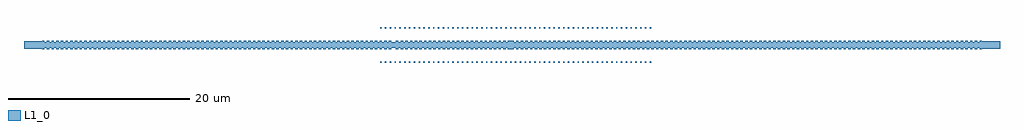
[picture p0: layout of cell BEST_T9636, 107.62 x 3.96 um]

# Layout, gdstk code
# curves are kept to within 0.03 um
import gdstk
lib = gdstk.Library(unit=1e-6, precision=1e-09)
def R(c, l, rs):  # rectangles x0, y0, x1, y1
    for r in rs: c.add(gdstk.rectangle(r[:2], r[2:], *l))
def A(c, l, x, y, w, h, nx, ny, dx, dy):  # array of equal rectangles
    R(c, l, [(x+i*dx, y+j*dy, x+i*dx+w, y+j*dy+h) for i in range(nx) for j in range(ny)])
def P(c, l, *ps):  # polygons
    for p in ps: c.add(gdstk.Polygon(p, *l))
L1_0 = (1, 0)

best_t9636 = lib.new_cell('BEST_T9636')
A(best_t9636, L1_0, -8.666, -0.491, 0.259, 0.982, 4, 1, 0.516, 0)
A(best_t9636, L1_0, 7.117, -0.491, 0.258, 0.982, 5, 1, 0.516, 0)
A(best_t9636, L1_0, -50.779, -0.481, 0.259, 0.962, 3, 1, 0.517, 0)
A(best_t9636, L1_0, -49.228, -0.481, 0.258, 0.962, 3, 1, 0.517, 0)
A(best_t9636, L1_0, -47.678, -0.481, 0.259, 0.962, 3, 1, 0.517, 0)
A(best_t9636, L1_0, -46.127, -0.481, 0.258, 0.962, 3, 1, 0.517, 0)
A(best_t9636, L1_0, -43.543, -0.481, 0.258, 0.962, 4, 1, 0.517, 0)
A(best_t9636, L1_0, -40.442, -0.481, 0.258, 0.962, 4, 1, 0.517, 0)
A(best_t9636, L1_0, -37.341, -0.481, 0.258, 0.962, 4, 1, 0.517, 0)
A(best_t9636, L1_0, -34.24, -0.481, 0.258, 0.962, 4, 1, 0.517, 0)
A(best_t9636, L1_0, -31.139, -0.481, 0.258, 0.962, 3, 1, 0.517, 0)
A(best_t9636, L1_0, -29.589, -0.481, 0.259, 0.962, 3, 1, 0.517, 0)
A(best_t9636, L1_0, -28.038, -0.481, 0.258, 0.962, 3, 1, 0.517, 0)
A(best_t9636, L1_0, -26.488, -0.481, 0.259, 0.962, 3, 1, 0.517, 0)
A(best_t9636, L1_0, -24.937, -0.481, 0.258, 0.962, 3, 1, 0.517, 0)
A(best_t9636, L1_0, -23.387, -0.481, 0.259, 0.962, 3, 1, 0.517, 0)
A(best_t9636, L1_0, -21.836, -0.481, 0.258, 0.962, 3, 1, 0.517, 0)
A(best_t9636, L1_0, -19.252, -0.481, 0.258, 0.962, 4, 1, 0.517, 0)
A(best_t9636, L1_0, -16.151, -0.481, 0.258, 0.962, 4, 1, 0.517, 0)
A(best_t9636, L1_0, 14.342, -0.481, 0.258, 0.962, 4, 1, 0.517, 0)
A(best_t9636, L1_0, 17.443, -0.481, 0.258, 0.962, 4, 1, 0.517, 0)
A(best_t9636, L1_0, 20.544, -0.481, 0.258, 0.962, 3, 1, 0.517, 0)
A(best_t9636, L1_0, 22.094, -0.481, 0.259, 0.962, 3, 1, 0.517, 0)
A(best_t9636, L1_0, 23.645, -0.481, 0.258, 0.962, 3, 1, 0.517, 0)
A(best_t9636, L1_0, 25.195, -0.481, 0.259, 0.962, 3, 1, 0.517, 0)
A(best_t9636, L1_0, 26.746, -0.481, 0.258, 0.962, 3, 1, 0.517, 0)
A(best_t9636, L1_0, 28.296, -0.481, 0.259, 0.962, 3, 1, 0.517, 0)
A(best_t9636, L1_0, 29.847, -0.481, 0.258, 0.962, 3, 1, 0.517, 0)
A(best_t9636, L1_0, 32.431, -0.481, 0.258, 0.962, 4, 1, 0.517, 0)
A(best_t9636, L1_0, 35.532, -0.481, 0.258, 0.962, 4, 1, 0.517, 0)
A(best_t9636, L1_0, 38.633, -0.481, 0.258, 0.962, 4, 1, 0.517, 0)
A(best_t9636, L1_0, 41.734, -0.481, 0.258, 0.962, 4, 1, 0.517, 0)
A(best_t9636, L1_0, 44.835, -0.481, 0.258, 0.962, 3, 1, 0.517, 0)
A(best_t9636, L1_0, 46.385, -0.481, 0.259, 0.962, 3, 1, 0.517, 0)
A(best_t9636, L1_0, 47.936, -0.481, 0.258, 0.962, 3, 1, 0.517, 0)
A(best_t9636, L1_0, 49.486, -0.481, 0.259, 0.962, 3, 1, 0.517, 0)
A(best_t9636, L1_0, -51.037, -0.319, 0.258, 0.638, 4, 1, 0.517, 0)
A(best_t9636, L1_0, -47.936, -0.319, 0.258, 0.638, 4, 1, 0.517, 0)
A(best_t9636, L1_0, -44.835, -0.319, 0.258, 0.638, 3, 1, 0.517, 0)
A(best_t9636, L1_0, -43.285, -0.319, 0.259, 0.638, 3, 1, 0.517, 0)
A(best_t9636, L1_0, -41.734, -0.319, 0.258, 0.638, 3, 1, 0.517, 0)
A(best_t9636, L1_0, -40.184, -0.319, 0.259, 0.638, 3, 1, 0.517, 0)
A(best_t9636, L1_0, -38.633, -0.319, 0.258, 0.638, 3, 1, 0.517, 0)
A(best_t9636, L1_0, -37.083, -0.319, 0.259, 0.638, 3, 1, 0.517, 0)
A(best_t9636, L1_0, -35.532, -0.319, 0.258, 0.638, 3, 1, 0.517, 0)
A(best_t9636, L1_0, -33.982, -0.319, 0.259, 0.638, 3, 1, 0.517, 0)
A(best_t9636, L1_0, -32.431, -0.319, 0.258, 0.638, 3, 1, 0.517, 0)
A(best_t9636, L1_0, -29.847, -0.319, 0.258, 0.638, 4, 1, 0.517, 0)
A(best_t9636, L1_0, -26.746, -0.319, 0.258, 0.638, 4, 1, 0.517, 0)
A(best_t9636, L1_0, -23.645, -0.319, 0.258, 0.638, 4, 1, 0.517, 0)
A(best_t9636, L1_0, -20.544, -0.319, 0.258, 0.638, 3, 1, 0.517, 0)
A(best_t9636, L1_0, -18.994, -0.319, 0.259, 0.638, 3, 1, 0.517, 0)
A(best_t9636, L1_0, -17.443, -0.319, 0.258, 0.638, 3, 1, 0.517, 0)
A(best_t9636, L1_0, -15.893, -0.319, 0.259, 0.638, 3, 1, 0.517, 0)
A(best_t9636, L1_0, -14.342, -0.319, 0.258, 0.638, 3, 1, 0.517, 0)
A(best_t9636, L1_0, 13.05, -0.319, 0.258, 0.638, 3, 1, 0.517, 0)
A(best_t9636, L1_0, 14.6, -0.319, 0.259, 0.638, 3, 1, 0.517, 0)
A(best_t9636, L1_0, 16.151, -0.319, 0.258, 0.638, 3, 1, 0.517, 0)
A(best_t9636, L1_0, 17.701, -0.319, 0.259, 0.638, 3, 1, 0.517, 0)
A(best_t9636, L1_0, 19.252, -0.319, 0.258, 0.638, 3, 1, 0.517, 0)
A(best_t9636, L1_0, 21.836, -0.319, 0.258, 0.638, 4, 1, 0.517, 0)
A(best_t9636, L1_0, 24.937, -0.319, 0.258, 0.638, 4, 1, 0.517, 0)
A(best_t9636, L1_0, 28.038, -0.319, 0.258, 0.638, 4, 1, 0.517, 0)
A(best_t9636, L1_0, 31.139, -0.319, 0.258, 0.638, 3, 1, 0.517, 0)
A(best_t9636, L1_0, 32.689, -0.319, 0.259, 0.638, 3, 1, 0.517, 0)
A(best_t9636, L1_0, 34.24, -0.319, 0.258, 0.638, 3, 1, 0.517, 0)
A(best_t9636, L1_0, 35.79, -0.319, 0.259, 0.638, 3, 1, 0.517, 0)
A(best_t9636, L1_0, 37.341, -0.319, 0.258, 0.638, 3, 1, 0.517, 0)
A(best_t9636, L1_0, 38.891, -0.319, 0.259, 0.638, 3, 1, 0.517, 0)
A(best_t9636, L1_0, 40.442, -0.319, 0.258, 0.638, 3, 1, 0.517, 0)
A(best_t9636, L1_0, 41.992, -0.319, 0.259, 0.638, 3, 1, 0.517, 0)
A(best_t9636, L1_0, 43.543, -0.319, 0.258, 0.638, 3, 1, 0.517, 0)
A(best_t9636, L1_0, 46.127, -0.319, 0.258, 0.638, 4, 1, 0.517, 0)
A(best_t9636, L1_0, 49.228, -0.319, 0.258, 0.638, 4, 1, 0.517, 0)
A(best_t9636, L1_0, -13.05, -0.31, 0.257, 0.62, 3, 1, 0.516, 0)
A(best_t9636, L1_0, -11.503, -0.31, 0.258, 0.62, 4, 1, 0.516, 0)
A(best_t9636, L1_0, 9.439, -0.31, 0.257, 0.62, 5, 1, 0.516, 0)
R(best_t9636, L1_0, [(-12.277,-0.491,-12.018,0.491), (-10.729,-0.491,-10.471,0.491), (-10.213,-0.491,-9.955,0.491), (-9.181,-0.491,-8.923,0.491), (-6.088,-0.491,-5.829,0.491), (-5.574,-0.491,-5.316,0.491), (-5.061,-0.491,-4.803,0.491), (-4.038,-0.491,-3.779,0.491), (4.032,-0.491,4.291,0.491), (5.057,-0.491,5.316,0.491), (5.571,-0.491,5.829,0.491), (6.086,-0.491,6.344,0.491), (10.212,-0.491,10.471,0.491), (10.728,-0.491,10.987,0.491), (12.276,-0.491,12.534,0.491), (-12.793,-0.49,-12.534,0.49), (-11.761,-0.49,-11.503,0.49), (-11.245,-0.49,-10.987,0.49), (-9.697,-0.49,-9.439,0.49), (-6.602,-0.49,-6.344,0.49), (-4.549,-0.49,-4.291,0.49), (-3.527,-0.49,-3.269,0.49), (-3.017,-0.49,-2.758,0.49), (3.01,-0.49,3.269,0.49), (3.521,-0.49,3.779,0.49), (4.544,-0.49,4.803,0.49), (6.601,-0.49,6.859,0.49), (9.696,-0.49,9.955,0.49), (11.244,-0.49,11.503,0.49), (11.76,-0.49,12.018,0.49), (12.792,-0.49,13.05,0.49), (-2.506,-0.489,-2.247,0.489), (-1.994,-0.489,-1.736,0.489), (1.989,-0.489,2.247,0.489), (2.5,-0.489,2.758,0.489), (-1.482,-0.487,-1.223,0.487), (1.477,-0.487,1.736,0.487), (-0.968,-0.483,-0.709,0.483), (0.965,-0.483,1.223,0.483), (-0.454,-0.482,-0.196,0.482), (0.451,-0.482,0.709,0.482), (-51.812,-0.481,-51.554,0.481), (-51.295,-0.481,-51.037,0.481), (-44.577,-0.481,-44.318,0.481), (-44.06,-0.481,-43.801,0.481), (-41.476,-0.481,-41.217,0.481), (-40.959,-0.481,-40.7,0.481), (-38.375,-0.481,-38.116,0.481), (-37.858,-0.481,-37.599,0.481), (-35.274,-0.481,-35.015,0.481), (-34.757,-0.481,-34.498,0.481), (-32.173,-0.481,-31.914,0.481), (-31.656,-0.481,-31.397,0.481), (-20.286,-0.481,-20.027,0.481), (-19.769,-0.481,-19.51,0.481), (-17.185,-0.481,-16.926,0.481), (-16.668,-0.481,-16.409,0.481), (-14.084,-0.481,-13.825,0.481), (-13.567,-0.481,-13.308,0.481), (-0.196,-0.481,0.196,0.481), (13.308,-0.481,13.567,0.481), (13.825,-0.481,14.084,0.481), (16.409,-0.481,16.668,0.481), (16.926,-0.481,17.185,0.481), (19.51,-0.481,19.769,0.481), (20.027,-0.481,20.286,0.481), (31.397,-0.481,31.656,0.481), (31.914,-0.481,32.173,0.481), (34.498,-0.481,34.757,0.481), (35.015,-0.481,35.274,0.481), (37.599,-0.481,37.858,0.481), (38.116,-0.481,38.375,0.481), (40.7,-0.481,40.959,0.481), (41.217,-0.481,41.476,0.481), (43.801,-0.481,44.06,0.481), (44.318,-0.481,44.577,0.481), (51.037,-0.481,51.295,0.481), (51.554,-0.481,51.812,0.481), (-53.812,-0.4,-51.812,0.4), (51.812,-0.4,53.812,0.4), (-0.709,-0.32,-0.454,0.32), (0.196,-0.32,0.451,0.32), (-51.554,-0.319,-51.295,0.319), (-48.97,-0.319,-48.711,0.319), (-48.453,-0.319,-48.194,0.319), (-45.869,-0.319,-45.61,0.319), (-45.352,-0.319,-45.093,0.319), (-30.881,-0.319,-30.622,0.319), (-30.364,-0.319,-30.105,0.319), (-27.78,-0.319,-27.521,0.319), (-27.263,-0.319,-27.004,0.319), (-24.679,-0.319,-24.42,0.319), (-24.162,-0.319,-23.903,0.319), (-21.578,-0.319,-21.319,0.319), (-21.061,-0.319,-20.802,0.319), (20.802,-0.319,21.061,0.319), (21.319,-0.319,21.578,0.319), (23.903,-0.319,24.162,0.319), (24.42,-0.319,24.679,0.319), (27.004,-0.319,27.263,0.319), (27.521,-0.319,27.78,0.319), (30.105,-0.319,30.364,0.319), (30.622,-0.319,30.881,0.319), (45.093,-0.319,45.352,0.319), (45.61,-0.319,45.869,0.319), (48.194,-0.319,48.453,0.319), (48.711,-0.319,48.97,0.319), (51.295,-0.319,51.554,0.319), (-1.223,-0.318,-0.968,0.318), (0.709,-0.318,0.965,0.318), (-1.736,-0.314,-1.482,0.314), (1.223,-0.314,1.477,0.314), (-2.758,-0.312,-2.506,0.312), (-2.247,-0.312,-1.994,0.312), (1.736,-0.312,1.989,0.312), (2.247,-0.312,2.5,0.312), (-3.269,-0.311,-3.017,0.311), (2.758,-0.311,3.01,0.311), (-8.407,-0.31,-8.15,0.31), (-6.859,-0.31,-6.602,0.31), (-4.803,-0.31,-4.549,0.31), (-4.291,-0.31,-4.038,0.31), (-3.779,-0.31,-3.527,0.31), (3.269,-0.31,3.521,0.31), (3.779,-0.31,4.032,0.31), (4.291,-0.31,4.544,0.31), (6.344,-0.31,6.601,0.31), (7.891,-0.31,8.149,0.31), (12.018,-0.31,12.276,0.31), (12.534,-0.31,12.792,0.31), (-9.439,-0.309,-9.181,0.309), (-8.923,-0.309,-8.666,0.309), (-7.891,-0.309,-7.634,0.309), (-7.375,-0.309,-7.118,0.309), (-6.344,-0.309,-6.088,0.309), (-5.829,-0.309,-5.574,0.309), (-5.316,-0.309,-5.061,0.309), (4.803,-0.309,5.057,0.309), (5.316,-0.309,5.571,0.309), (5.829,-0.309,6.086,0.309), (6.859,-0.309,7.117,0.309), (7.375,-0.309,7.633,0.309), (8.407,-0.309,8.665,0.309), (8.923,-0.309,9.181,0.309)])
P(best_t9636, L1_0, [(-14.387,1.897),(-14.41,1.954),(-14.467,1.978),(-14.524,1.954),(-14.547,1.905),(-14.524,1.841),(-14.467,1.817),(-14.416,1.835)],
  [(-14.387,-1.897),(-14.41,-1.841),(-14.467,-1.817),(-14.524,-1.841),(-14.547,-1.905),(-14.524,-1.954),(-14.467,-1.978),(-14.41,-1.954)],
  [(-13.856,1.897),(-13.879,1.954),(-13.928,1.977),(-13.987,1.959),(-14.016,1.905),(-13.993,1.841),(-13.936,1.817),(-13.885,1.835)],
  [(-13.856,-1.897),(-13.879,-1.841),(-13.936,-1.817),(-13.993,-1.841),(-14.016,-1.905),(-13.987,-1.959),(-13.928,-1.977),(-13.879,-1.954)],
  [(-13.325,1.897),(-13.348,1.954),(-13.397,1.977),(-13.456,1.959),(-13.485,1.905),(-13.467,1.847),(-13.436,1.823),(-13.405,1.817),(-13.348,1.841)],
  [(-13.325,-1.897),(-13.348,-1.841),(-13.405,-1.817),(-13.436,-1.823),(-13.467,-1.847),(-13.485,-1.905),(-13.456,-1.959),(-13.397,-1.977),(-13.348,-1.954)],
  [(-12.794,1.897),(-12.817,1.954),(-12.866,1.977),(-12.925,1.959),(-12.954,1.905),(-12.931,1.841),(-12.874,1.817),(-12.817,1.841)],
  [(-12.794,-1.897),(-12.817,-1.841),(-12.874,-1.817),(-12.931,-1.841),(-12.954,-1.905),(-12.925,-1.959),(-12.866,-1.977),(-12.817,-1.954)],
  [(-12.263,1.897),(-12.286,1.954),(-12.335,1.977),(-12.394,1.959),(-12.423,1.905),(-12.405,1.847),(-12.343,1.817),(-12.286,1.841)],
  [(-12.263,-1.897),(-12.286,-1.841),(-12.343,-1.817),(-12.405,-1.847),(-12.423,-1.905),(-12.394,-1.959),(-12.335,-1.977),(-12.286,-1.954)],
  [(-11.732,1.897),(-11.755,1.954),(-11.804,1.977),(-11.863,1.959),(-11.892,1.897),(-11.874,1.847),(-11.812,1.817),(-11.755,1.841)],
  [(-11.732,-1.897),(-11.755,-1.841),(-11.812,-1.817),(-11.863,-1.836),(-11.892,-1.897),(-11.874,-1.948),(-11.82,-1.977),(-11.755,-1.954)],
  [(-11.201,1.897),(-11.224,1.954),(-11.273,1.977),(-11.332,1.959),(-11.361,1.905),(-11.338,1.841),(-11.281,1.817),(-11.224,1.841)],
  [(-11.201,-1.897),(-11.224,-1.841),(-11.281,-1.817),(-11.338,-1.841),(-11.361,-1.905),(-11.332,-1.959),(-11.273,-1.977),(-11.224,-1.954)],
  [(-10.67,1.897),(-10.693,1.954),(-10.742,1.977),(-10.801,1.959),(-10.83,1.905),(-10.807,1.841),(-10.75,1.817),(-10.693,1.841)],
  [(-10.67,-1.897),(-10.693,-1.841),(-10.75,-1.817),(-10.807,-1.841),(-10.83,-1.905),(-10.801,-1.959),(-10.742,-1.977),(-10.693,-1.954)],
  [(-10.139,1.897),(-10.162,1.954),(-10.211,1.977),(-10.27,1.959),(-10.299,1.897),(-10.281,1.847),(-10.219,1.817),(-10.162,1.841)],
  [(-10.139,-1.897),(-10.162,-1.841),(-10.219,-1.817),(-10.27,-1.836),(-10.299,-1.897),(-10.281,-1.948),(-10.227,-1.977),(-10.162,-1.954)],
  [(-9.608,1.897),(-9.631,1.954),(-9.68,1.977),(-9.739,1.959),(-9.768,1.905),(-9.745,1.841),(-9.688,1.817),(-9.631,1.841)],
  [(-9.608,-1.897),(-9.631,-1.841),(-9.688,-1.817),(-9.745,-1.841),(-9.768,-1.905),(-9.739,-1.959),(-9.68,-1.977),(-9.631,-1.954)],
  [(-9.077,1.897),(-9.1,1.954),(-9.149,1.977),(-9.208,1.959),(-9.237,1.905),(-9.214,1.841),(-9.157,1.817),(-9.1,1.841)],
  [(-9.077,-1.897),(-9.1,-1.841),(-9.157,-1.817),(-9.214,-1.841),(-9.237,-1.905),(-9.208,-1.959),(-9.149,-1.977),(-9.1,-1.954)],
  [(-8.546,1.897),(-8.569,1.954),(-8.618,1.977),(-8.677,1.959),(-8.706,1.905),(-8.683,1.841),(-8.626,1.817),(-8.569,1.841)],
  [(-8.546,-1.897),(-8.569,-1.841),(-8.626,-1.817),(-8.683,-1.841),(-8.706,-1.905),(-8.677,-1.959),(-8.618,-1.977),(-8.569,-1.954)],
  [(-8.015,1.897),(-8.038,1.954),(-8.087,1.977),(-8.14,1.964),(-8.175,1.905),(-8.152,1.841),(-8.095,1.817),(-8.044,1.835)],
  [(-8.015,-1.897),(-8.038,-1.841),(-8.095,-1.817),(-8.152,-1.841),(-8.175,-1.905),(-8.14,-1.964),(-8.087,-1.977),(-8.038,-1.954)],
  [(-7.484,1.897),(-7.507,1.954),(-7.564,1.978),(-7.621,1.954),(-7.644,1.905),(-7.626,1.846),(-7.564,1.817),(-7.513,1.835)],
  [(-7.484,-1.897),(-7.502,-1.846),(-7.564,-1.817),(-7.626,-1.846),(-7.644,-1.905),(-7.621,-1.954),(-7.564,-1.978),(-7.507,-1.954)],
  [(-6.953,1.897),(-6.976,1.954),(-7.033,1.978),(-7.09,1.954),(-7.113,1.905),(-7.095,1.846),(-7.033,1.817),(-6.982,1.835)],
  [(-6.953,-1.897),(-6.971,-1.846),(-7.033,-1.817),(-7.095,-1.846),(-7.113,-1.905),(-7.09,-1.954),(-7.033,-1.978),(-6.976,-1.954)],
  [(-6.422,1.897),(-6.445,1.954),(-6.502,1.978),(-6.559,1.954),(-6.582,1.905),(-6.564,1.846),(-6.502,1.817),(-6.451,1.835)],
  [(-6.422,-1.897),(-6.44,-1.846),(-6.502,-1.817),(-6.564,-1.846),(-6.582,-1.905),(-6.559,-1.954),(-6.502,-1.978),(-6.445,-1.954)],
  [(-5.891,1.897),(-5.914,1.954),(-5.971,1.978),(-6.028,1.954),(-6.051,1.905),(-6.033,1.846),(-5.979,1.817),(-5.92,1.835)],
  [(-5.891,-1.897),(-5.909,-1.846),(-5.963,-1.817),(-6.022,-1.835),(-6.051,-1.889),(-6.028,-1.954),(-5.971,-1.978),(-5.914,-1.954)],
  [(-5.36,1.897),(-5.383,1.954),(-5.44,1.978),(-5.497,1.954),(-5.52,1.905),(-5.502,1.846),(-5.448,1.817),(-5.389,1.835)],
  [(-5.36,-1.897),(-5.389,-1.835),(-5.448,-1.817),(-5.502,-1.846),(-5.52,-1.905),(-5.497,-1.954),(-5.44,-1.978),(-5.383,-1.954)],
  [(-4.829,1.897),(-4.852,1.954),(-4.901,1.977),(-4.96,1.959),(-4.989,1.905),(-4.966,1.841),(-4.909,1.817),(-4.858,1.835)],
  [(-4.829,-1.897),(-4.852,-1.841),(-4.909,-1.817),(-4.966,-1.841),(-4.989,-1.905),(-4.96,-1.959),(-4.901,-1.977),(-4.852,-1.954)],
  [(-4.298,1.897),(-4.321,1.954),(-4.37,1.977),(-4.429,1.959),(-4.458,1.897),(-4.44,1.847),(-4.386,1.818),(-4.321,1.841)],
  [(-4.298,-1.897),(-4.321,-1.841),(-4.37,-1.818),(-4.429,-1.836),(-4.458,-1.897),(-4.44,-1.948),(-4.386,-1.977),(-4.321,-1.954)],
  [(-3.767,1.897),(-3.79,1.954),(-3.839,1.977),(-3.891,1.964),(-3.926,1.905),(-3.913,1.853),(-3.855,1.818),(-3.79,1.841)],
  [(-3.767,-1.897),(-3.79,-1.841),(-3.855,-1.818),(-3.913,-1.853),(-3.926,-1.905),(-3.891,-1.964),(-3.839,-1.977),(-3.79,-1.954)],
  [(-3.236,1.897),(-3.254,1.948),(-3.308,1.977),(-3.366,1.959),(-3.395,1.905),(-3.382,1.853),(-3.324,1.818),(-3.265,1.836)],
  [(-3.236,-1.897),(-3.265,-1.836),(-3.324,-1.818),(-3.382,-1.853),(-3.395,-1.905),(-3.366,-1.959),(-3.308,-1.977),(-3.254,-1.948)],
  [(-2.705,1.897),(-2.723,1.948),(-2.777,1.977),(-2.829,1.964),(-2.864,1.905),(-2.851,1.853),(-2.793,1.818),(-2.734,1.836)],
  [(-2.705,-1.897),(-2.734,-1.836),(-2.793,-1.818),(-2.851,-1.853),(-2.864,-1.905),(-2.829,-1.964),(-2.777,-1.977),(-2.723,-1.948)],
  [(-2.174,1.897),(-2.197,1.954),(-2.246,1.977),(-2.305,1.959),(-2.334,1.905),(-2.311,1.841),(-2.254,1.817),(-2.197,1.841)],
  [(-2.174,-1.897),(-2.197,-1.841),(-2.254,-1.817),(-2.311,-1.841),(-2.334,-1.905),(-2.305,-1.959),(-2.246,-1.977),(-2.197,-1.954)],
  [(-1.643,1.897),(-1.661,1.948),(-1.723,1.978),(-1.78,1.954),(-1.804,1.897),(-1.786,1.846),(-1.731,1.817),(-1.672,1.835)],
  [(-1.643,-1.897),(-1.661,-1.846),(-1.716,-1.817),(-1.774,-1.835),(-1.804,-1.897),(-1.786,-1.948),(-1.723,-1.978),(-1.661,-1.948)],
  [(-1.112,1.897),(-1.13,1.948),(-1.193,1.978),(-1.244,1.96),(-1.273,1.905),(-1.255,1.846),(-1.2,1.817),(-1.142,1.835)],
  [(-1.112,-1.897),(-1.13,-1.846),(-1.185,-1.817),(-1.244,-1.835),(-1.273,-1.889),(-1.255,-1.948),(-1.193,-1.978),(-1.142,-1.96)],
  [(-0.581,1.897),(-0.604,1.954),(-0.653,1.977),(-0.712,1.959),(-0.741,1.897),(-0.723,1.847),(-0.661,1.817),(-0.604,1.841)],
  [(-0.581,-1.897),(-0.604,-1.841),(-0.661,-1.817),(-0.712,-1.836),(-0.741,-1.897),(-0.723,-1.948),(-0.669,-1.977),(-0.604,-1.954)],
  [(-0.05,1.897),(-0.073,1.954),(-0.122,1.977),(-0.186,1.954),(-0.21,1.897),(-0.192,1.847),(-0.13,1.817),(-0.073,1.841)],
  [(-0.05,-1.897),(-0.073,-1.841),(-0.13,-1.817),(-0.186,-1.841),(-0.21,-1.897),(-0.192,-1.948),(-0.138,-1.977),(-0.073,-1.954)],
  [(0.48,1.897),(0.457,1.954),(0.408,1.977),(0.356,1.964),(0.321,1.905),(0.334,1.853),(0.393,1.818),(0.457,1.841)],
  [(0.48,-1.897),(0.457,-1.841),(0.393,-1.818),(0.334,-1.853),(0.321,-1.905),(0.356,-1.964),(0.408,-1.977),(0.457,-1.954)],
  [(1.012,1.897),(0.989,1.954),(0.94,1.977),(0.881,1.959),(0.852,1.905),(0.875,1.841),(0.932,1.817),(0.983,1.835)],
  [(1.012,-1.897),(0.989,-1.841),(0.932,-1.817),(0.875,-1.841),(0.852,-1.905),(0.881,-1.959),(0.94,-1.977),(0.989,-1.954)],
  [(1.544,1.897),(1.521,1.954),(1.464,1.978),(1.413,1.96),(1.383,1.897),(1.401,1.846),(1.456,1.817),(1.521,1.84)],
  [(1.544,-1.897),(1.521,-1.84),(1.472,-1.817),(1.407,-1.84),(1.383,-1.897),(1.401,-1.948),(1.464,-1.978),(1.521,-1.954)],
  [(2.074,1.897),(2.051,1.954),(1.994,1.978),(1.943,1.959),(1.914,1.905),(1.932,1.846),(1.994,1.817),(2.045,1.835)],
  [(2.074,-1.897),(2.056,-1.846),(1.994,-1.817),(1.932,-1.846),(1.914,-1.905),(1.943,-1.959),(1.994,-1.978),(2.051,-1.954)],
  [(2.605,1.897),(2.587,1.948),(2.533,1.977),(2.474,1.959),(2.445,1.905),(2.463,1.847),(2.517,1.818),(2.581,1.841)],
  [(2.605,-1.897),(2.581,-1.841),(2.517,-1.818),(2.463,-1.847),(2.445,-1.905),(2.474,-1.959),(2.533,-1.977),(2.587,-1.948)],
  [(3.135,1.897),(3.112,1.954),(3.056,1.977),(3.005,1.959),(2.976,1.897),(2.994,1.847),(3.048,1.818),(3.112,1.841)],
  [(3.135,-1.897),(3.112,-1.841),(3.064,-1.818),(3.005,-1.836),(2.976,-1.897),(2.994,-1.948),(3.056,-1.977),(3.112,-1.954)],
  [(3.666,1.897),(3.643,1.954),(3.595,1.977),(3.536,1.959),(3.507,1.897),(3.525,1.847),(3.579,1.818),(3.643,1.841)],
  [(3.666,-1.897),(3.643,-1.841),(3.595,-1.818),(3.536,-1.836),(3.507,-1.897),(3.525,-1.948),(3.579,-1.977),(3.643,-1.954)],
  [(4.198,1.897),(4.18,1.948),(4.126,1.977),(4.067,1.959),(4.038,1.905),(4.056,1.847),(4.11,1.818),(4.174,1.841)],
  [(4.198,-1.897),(4.174,-1.841),(4.11,-1.818),(4.056,-1.847),(4.038,-1.905),(4.067,-1.959),(4.126,-1.977),(4.18,-1.948)],
  [(4.729,1.897),(4.711,1.948),(4.657,1.977),(4.604,1.964),(4.569,1.905),(4.592,1.841),(4.649,1.817),(4.7,1.836)],
  [(4.729,-1.897),(4.711,-1.847),(4.649,-1.817),(4.592,-1.841),(4.569,-1.905),(4.604,-1.964),(4.657,-1.977),(4.711,-1.948)],
  [(5.26,1.897),(5.237,1.954),(5.18,1.978),(5.123,1.954),(5.1,1.905),(5.123,1.841),(5.18,1.817),(5.231,1.835)],
  [(5.26,-1.897),(5.237,-1.841),(5.18,-1.817),(5.123,-1.841),(5.1,-1.905),(5.123,-1.954),(5.18,-1.978),(5.237,-1.954)],
  [(5.791,1.897),(5.768,1.954),(5.711,1.978),(5.654,1.954),(5.631,1.905),(5.649,1.846),(5.703,1.817),(5.762,1.835)],
  [(5.791,-1.897),(5.773,-1.846),(5.719,-1.817),(5.66,-1.835),(5.631,-1.889),(5.654,-1.954),(5.711,-1.978),(5.768,-1.954)],
  [(6.322,1.897),(6.299,1.954),(6.242,1.978),(6.185,1.954),(6.162,1.905),(6.18,1.846),(6.234,1.817),(6.293,1.835)],
  [(6.322,-1.897),(6.293,-1.835),(6.234,-1.817),(6.18,-1.846),(6.162,-1.905),(6.185,-1.954),(6.242,-1.978),(6.299,-1.954)],
  [(6.853,1.897),(6.83,1.954),(6.773,1.978),(6.716,1.954),(6.693,1.905),(6.711,1.846),(6.773,1.817),(6.824,1.835)],
  [(6.853,-1.897),(6.835,-1.846),(6.773,-1.817),(6.711,-1.846),(6.693,-1.905),(6.716,-1.954),(6.773,-1.978),(6.83,-1.954)],
  [(7.384,1.897),(7.361,1.954),(7.304,1.978),(7.247,1.954),(7.224,1.905),(7.242,1.846),(7.304,1.817),(7.355,1.835)],
  [(7.384,-1.897),(7.366,-1.846),(7.304,-1.817),(7.242,-1.846),(7.224,-1.905),(7.247,-1.954),(7.304,-1.978),(7.361,-1.954)],
  [(7.915,1.897),(7.892,1.954),(7.835,1.978),(7.778,1.954),(7.755,1.905),(7.773,1.846),(7.835,1.817),(7.886,1.835)],
  [(7.915,-1.897),(7.897,-1.846),(7.835,-1.817),(7.773,-1.846),(7.755,-1.905),(7.778,-1.954),(7.835,-1.978),(7.892,-1.954)],
  [(8.446,1.897),(8.423,1.954),(8.374,1.977),(8.315,1.959),(8.286,1.905),(8.309,1.841),(8.366,1.817),(8.423,1.841)],
  [(8.446,-1.897),(8.423,-1.841),(8.366,-1.817),(8.309,-1.841),(8.286,-1.905),(8.315,-1.959),(8.374,-1.977),(8.423,-1.954)],
  [(8.977,1.897),(8.954,1.954),(8.905,1.977),(8.846,1.959),(8.817,1.905),(8.84,1.841),(8.897,1.817),(8.954,1.841)],
  [(8.977,-1.897),(8.954,-1.841),(8.897,-1.817),(8.84,-1.841),(8.817,-1.905),(8.846,-1.959),(8.905,-1.977),(8.954,-1.954)],
  [(9.508,1.897),(9.485,1.954),(9.436,1.977),(9.377,1.959),(9.348,1.905),(9.371,1.841),(9.428,1.817),(9.485,1.841)],
  [(9.508,-1.897),(9.485,-1.841),(9.428,-1.817),(9.371,-1.841),(9.348,-1.905),(9.377,-1.959),(9.436,-1.977),(9.485,-1.954)],
  [(10.039,1.897),(10.021,1.948),(9.967,1.977),(9.908,1.959),(9.879,1.905),(9.897,1.847),(9.959,1.817),(10.01,1.836)],
  [(10.039,-1.897),(10.021,-1.847),(9.959,-1.817),(9.897,-1.847),(9.879,-1.905),(9.908,-1.959),(9.967,-1.977),(10.021,-1.948)],
  [(10.57,1.897),(10.547,1.954),(10.498,1.977),(10.439,1.959),(10.41,1.905),(10.433,1.841),(10.49,1.817),(10.547,1.841)],
  [(10.57,-1.897),(10.547,-1.841),(10.49,-1.817),(10.433,-1.841),(10.41,-1.905),(10.439,-1.959),(10.498,-1.977),(10.547,-1.954)],
  [(11.101,1.897),(11.078,1.954),(11.029,1.977),(10.97,1.959),(10.941,1.905),(10.964,1.841),(11.021,1.817),(11.078,1.841)],
  [(11.101,-1.897),(11.078,-1.841),(11.021,-1.817),(10.964,-1.841),(10.941,-1.905),(10.97,-1.959),(11.029,-1.977),(11.078,-1.954)],
  [(11.632,1.897),(11.609,1.954),(11.56,1.977),(11.501,1.959),(11.472,1.905),(11.495,1.841),(11.552,1.817),(11.609,1.841)],
  [(11.632,-1.897),(11.609,-1.841),(11.552,-1.817),(11.495,-1.841),(11.472,-1.905),(11.501,-1.959),(11.56,-1.977),(11.609,-1.954)],
  [(12.163,1.897),(12.14,1.954),(12.091,1.977),(12.032,1.959),(12.003,1.905),(12.026,1.841),(12.083,1.817),(12.14,1.841)],
  [(12.163,-1.897),(12.14,-1.841),(12.083,-1.817),(12.026,-1.841),(12.003,-1.905),(12.032,-1.959),(12.091,-1.977),(12.14,-1.954)],
  [(12.694,1.897),(12.671,1.954),(12.622,1.977),(12.569,1.964),(12.534,1.905),(12.557,1.841),(12.614,1.817),(12.671,1.841)],
  [(12.694,-1.897),(12.671,-1.841),(12.614,-1.817),(12.557,-1.841),(12.534,-1.905),(12.569,-1.964),(12.622,-1.977),(12.671,-1.954)],
  [(13.225,1.897),(13.202,1.954),(13.153,1.977),(13.094,1.959),(13.065,1.905),(13.088,1.841),(13.145,1.817),(13.202,1.841)],
  [(13.225,-1.897),(13.202,-1.841),(13.145,-1.817),(13.088,-1.841),(13.065,-1.905),(13.094,-1.959),(13.153,-1.977),(13.202,-1.954)],
  [(13.756,1.897),(13.733,1.954),(13.684,1.977),(13.631,1.964),(13.596,1.905),(13.619,1.841),(13.676,1.817),(13.733,1.841)],
  [(13.756,-1.897),(13.733,-1.841),(13.676,-1.817),(13.619,-1.841),(13.596,-1.905),(13.631,-1.964),(13.684,-1.977),(13.733,-1.954)],
  [(14.287,1.897),(14.264,1.954),(14.215,1.977),(14.162,1.964),(14.127,1.905),(14.15,1.841),(14.207,1.817),(14.258,1.835)],
  [(14.287,-1.897),(14.264,-1.841),(14.207,-1.817),(14.15,-1.841),(14.127,-1.905),(14.162,-1.964),(14.215,-1.977),(14.264,-1.954)],
  [(14.818,1.897),(14.795,1.954),(14.746,1.977),(14.693,1.964),(14.658,1.905),(14.681,1.841),(14.738,1.817),(14.789,1.835)],
  [(14.818,-1.897),(14.795,-1.841),(14.738,-1.817),(14.681,-1.841),(14.658,-1.905),(14.693,-1.964),(14.746,-1.977),(14.795,-1.954)],
  [(15.349,1.897),(15.326,1.954),(15.277,1.977),(15.224,1.964),(15.189,1.905),(15.212,1.841),(15.269,1.817),(15.32,1.835)],
  [(15.349,-1.897),(15.326,-1.841),(15.269,-1.817),(15.212,-1.841),(15.189,-1.905),(15.224,-1.964),(15.277,-1.977),(15.326,-1.954)])

lib.write_gds('BEST_T9636.gds')
